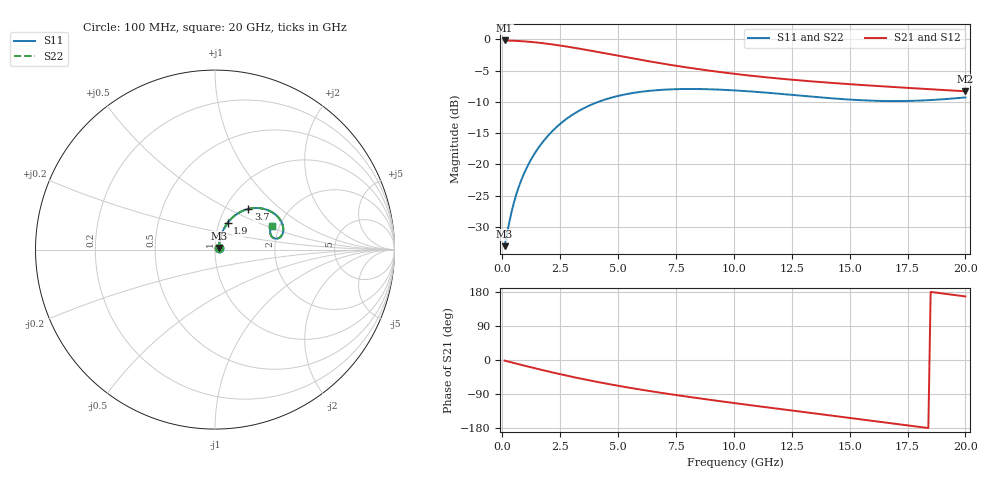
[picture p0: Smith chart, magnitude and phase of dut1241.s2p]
! Touchstone file exported from HFSS 2024.1.0
!  File:  C:/UserFiles/LocalFiles/RDL_TSV_Batchsim/temp_RDL_TSV_1241_1780267271.aedt
!  Generated:  06:58:07 AM Jun  1, 2026
!  Design:  RDL_TSV
!  Project:  temp_RDL_TSV_1241_1780267271
!  Setup:  Setup1
!  Solution:  Sweep
! Variables:
!  dtsv = 6.59um
!  hbump = 3um
!  htsv = 59.25um
!  ldown = 581.88um
!  lrdl = 299.97um
!  p = 40
!  p1 = 47.24um
!  rhole = 10um
!  subl = 2945.52um
!  t = 450um
!  tdown = 4.52um
!  trdl = 3.11um
!  viad = 10um
!  wdown = 14.23um
!  wrdl = 13.86um
!  xbump = 18um
# GHz S MA R 50.000000
! Terminal data exported
! Port[1] = TM1_1_T1
! Port[2] = TM1_4_T1
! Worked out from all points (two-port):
!   200 points, 100 MHz to 20 GHz, reference 50 ohm
!   highest |S21| = -0.18 dB at 100 MHz (marker M1); lowest = -8.3 dB at 20 GHz (marker M2)
!   |S21| within 3 dB of the highest: start of sweep to 5.833 GHz
!   lowest |S11| = -33.1 dB at 100 MHz (marker M3), VSWR 1.05, Z = 52.1 + j0.929 ohm
!   |S11| at or under -10 dB: start of sweep to 4.143 GHz
!   |S22| runs from -33.1 to -7.9 dB; largest |S21 - S12| = 1.2e-14
!   S11 on the Smith chart (normalised r, x): 100 MHz: 1.04, +0.02; 1.9 GHz: 1.10, +0.33; 3.7 GHz: 1.28, +0.63; 20 GHz: 1.82, +0.55
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0.1  0.02225 23.6  0.9796 -1.6  0.9796 -1.6  0.02225 23.6
! Gamma 0 0 0 0
! Port Impedance 50 0 50 0
0.4  0.04176 55.6  0.9759 -6.4  0.9759 -6.4  0.04176 55.6
0.6  0.05729 62.1  0.9721 -9.5  0.9721 -9.5  0.05729 62.1
0.8  0.07329 65.2  0.9674 -12.6  0.9674 -12.6  0.07329 65.2
1  0.08957 66.6  0.9616 -15.6  0.9616 -15.6  0.08957 66.6
1.3  0.1143 67.0  0.9512 -20.2  0.9512 -20.2  0.1143 67.0
1.9  0.1637 64.8  0.9245 -29.0  0.9245 -29.0  0.1637 64.8
2.6  0.2187 59.9  0.8865 -38.8  0.8865 -38.8  0.2186 59.9
3.5  0.2804 52.4  0.8317 -50.5  0.8317 -50.5  0.2803 52.4
3.7  0.2923 50.7  0.8192 -53.0  0.8192 -53.0  0.2922 50.7
4.4  0.3286 44.9  0.7757 -61.3  0.7757 -61.3  0.3285 44.8
5.1  0.3565 39.3  0.7341 -69.1  0.7341 -69.1  0.3564 39.3
5.9  0.3789 33.6  0.6899 -77.4  0.6899 -77.4  0.3788 33.6
6.8  0.394 28.0  0.6456 -86.1  0.6456 -86.1  0.3939 28.0
8.4  0.4009 19.9  0.5805 -100.3  0.5805 -100.3  0.4008 19.9
10.1  0.3901 14.0  0.5282 -114.4  0.5282 -114.4  0.39 14.0
11.7  0.3709 10.9  0.491 -127.0  0.491 -127.0  0.3708 10.9
13.4  0.348 10.0  0.4608 -140.3  0.4608 -140.3  0.3478 10.0
15.1  0.3292 11.8  0.4369 -153.6  0.4369 -153.6  0.3291 11.8
16.7  0.3212 15.3  0.4181 -166.1  0.4181 -166.1  0.321 15.3
18.3  0.3257 19.3  0.4012 -178.8  0.4012 -178.8  0.3256 19.4
20  0.3436 22.8  0.3843 167.7  0.3843 167.7  0.3435 22.9
